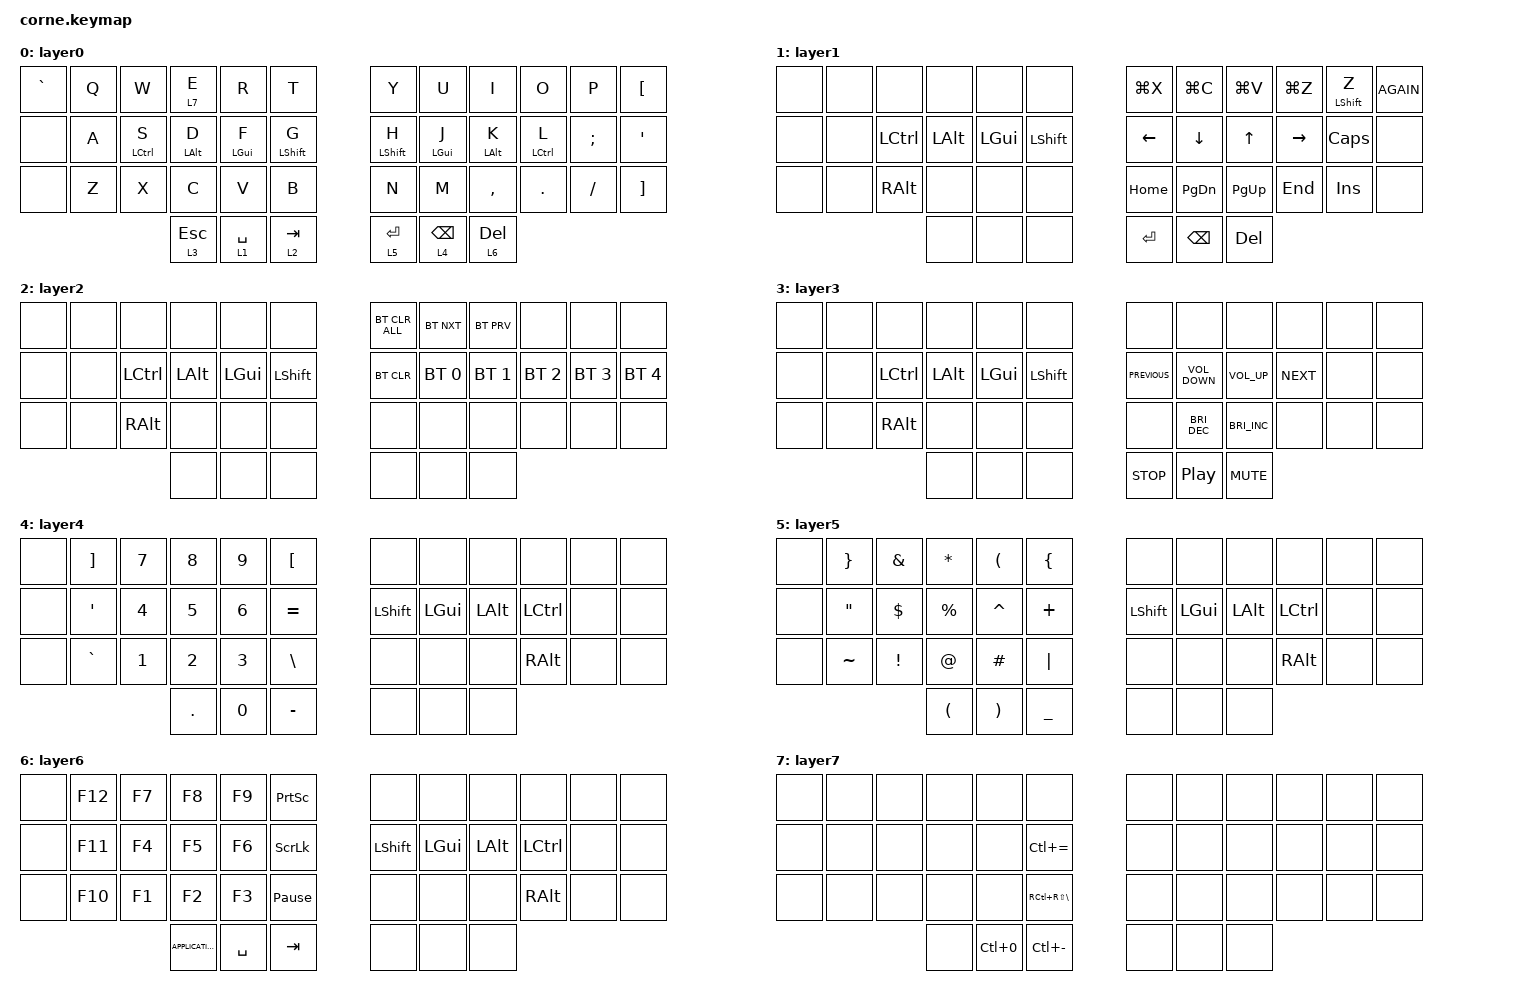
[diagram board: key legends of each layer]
/*
 * Copyright (c) 2020 The ZMK Contributors
 *
 * SPDX-License-Identifier: MIT
 */

#include <behaviors.dtsi>
#include <dt-bindings/zmk/bt.h>
#include <dt-bindings/zmk/keys.h>

/ {
    combos {
        compatible = "zmk,combos";

        combo_esc {
            timeout-ms = <50>;
            key-positions = <0 1>;
            bindings = <&kp ESC>;
        };
    };

    behaviors {
        ss_hs_modmorph: ss_hs_modmorph {
            compatible = "zmk,behavior-mod-morph";
            label = "SS_HS_MODMORPH";
            bindings = <&kp M>, <&kp RIGHT_BRACKET>;

            #binding-cells = <0>;
            mods = <(MOD_LSFT|MOD_RSFT)>;
        };

        kh_hs_tapdance: kh_hs_tapdance {
            compatible = "zmk,behavior-tap-dance";
            label = "KH_HS_TAPDANCE";
            #binding-cells = <0>;
            tapping-term-ms = <200>;
            bindings = <&kp LEFT_BRACKET>, <&kp RIGHT_BRACKET>;
        };

        hrm: hrm {
            compatible = "zmk,behavior-hold-tap";
            #binding-cells = <2>;
            flavor = "tap-preferred";
            tapping-term-ms = <200>;
            quick-tap-ms = <200>;
            require-prior-idle-ms = <125>;
            bindings = <&kp>, <&kp>;
        };
    };

    keymap {
        compatible = "zmk,keymap";

        layer0 {
            bindings = <
&kp GRAVE  &kp Q  &kp W                &lt 7 E          &kp R            &kp T                &kp Y              &kp U            &kp I            &kp O                &kp P          &kp LEFT_BRACKET
&none      &kp A  &hrm LEFT_CONTROL S  &hrm LEFT_ALT D  &hrm LEFT_GUI F  &hrm LEFT_SHIFT G    &hrm LEFT_SHIFT H  &hrm LEFT_GUI J  &hrm LEFT_ALT K  &hrm LEFT_CONTROL L  &kp SEMICOLON  &kp SINGLE_QUOTE
&none      &kp Z  &kp X                &kp C            &kp V            &kp B                &kp N              &kp M            &kp COMMA        &kp DOT              &kp SLASH      &kp RIGHT_BRACKET
                                       &lt 3 ESCAPE     &lt 1 SPACE      &lt 2 TAB            &lt 5 ENTER        &lt 4 BACKSPACE  &lt 6 DELETE
            >;
        };

        layer1 {
            bindings = <
&none  &none  &none             &none         &none         &none             &kp LG(X)  &kp LG(C)      &kp LG(V)    &kp LG(Z)  &mt LEFT_SHIFT Z  &kp K_AGAIN
&none  &none  &kp LEFT_CONTROL  &kp LEFT_ALT  &kp LEFT_GUI  &kp LEFT_SHIFT    &kp LEFT   &kp DOWN       &kp UP       &kp RIGHT  &kp CAPSLOCK      &none
&none  &none  &kp RIGHT_ALT     &none         &none         &none             &kp HOME   &kp PAGE_DOWN  &kp PAGE_UP  &kp END    &kp INSERT        &none
                                &none         &none         &none             &kp ENTER  &kp BACKSPACE  &kp DELETE
            >;
        };

        layer2 {
            bindings = <
&none  &none  &none             &none         &none         &none             &bt BT_CLR_ALL  &bt BT_NXT    &bt BT_PRV    &none         &none         &none
&none  &none  &kp LEFT_CONTROL  &kp LEFT_ALT  &kp LEFT_GUI  &kp LEFT_SHIFT    &bt BT_CLR      &bt BT_SEL 0  &bt BT_SEL 1  &bt BT_SEL 2  &bt BT_SEL 3  &bt BT_SEL 4
&none  &none  &kp RIGHT_ALT     &none         &none         &none             &none           &none         &none         &none         &none         &none
                                &none         &none         &none             &none           &none         &none
            >;
        };

        layer3 {
            bindings = <
&none  &none  &none             &none         &none         &none             &none           &none                 &none                 &none       &none  &none
&none  &none  &kp LEFT_CONTROL  &kp LEFT_ALT  &kp LEFT_GUI  &kp LEFT_SHIFT    &kp C_PREVIOUS  &kp C_VOLUME_DOWN     &kp C_VOLUME_UP       &kp C_NEXT  &none  &none
&none  &none  &kp RIGHT_ALT     &none         &none         &none             &none           &kp C_BRIGHTNESS_DEC  &kp C_BRIGHTNESS_INC  &none       &none  &none
                                &none         &none         &none             &kp C_STOP      &kp C_PLAY_PAUSE      &kp C_MUTE
            >;
        };

        layer4 {
            bindings = <
&none  &kp RIGHT_BRACKET  &kp N7  &kp N8   &kp N9  &kp LEFT_BRACKET    &none           &none         &none         &none             &none  &none
&none  &kp SINGLE_QUOTE   &kp N4  &kp N5   &kp N6  &kp EQUAL           &kp LEFT_SHIFT  &kp LEFT_GUI  &kp LEFT_ALT  &kp LEFT_CONTROL  &none  &none
&none  &kp GRAVE          &kp N1  &kp N2   &kp N3  &kp BACKSLASH       &none           &none         &none         &kp RIGHT_ALT     &none  &none
                                  &kp DOT  &kp N0  &kp MINUS           &none           &none         &none
            >;
        };

        layer5 {
            bindings = <
&none  &kp RIGHT_BRACE    &kp AMPERSAND    &kp ASTERISK          &kp LEFT_PARENTHESIS   &kp LEFT_BRACE    &none           &none         &none         &none             &none  &none
&none  &kp DOUBLE_QUOTES  &kp DOLLAR       &kp PERCENT           &kp CARET              &kp PLUS          &kp LEFT_SHIFT  &kp LEFT_GUI  &kp LEFT_ALT  &kp LEFT_CONTROL  &none  &none
&none  &kp TILDE          &kp EXCLAMATION  &kp AT_SIGN           &kp HASH               &kp PIPE          &none           &none         &none         &kp RIGHT_ALT     &none  &none
                                           &kp LEFT_PARENTHESIS  &kp RIGHT_PARENTHESIS  &kp UNDERSCORE    &none           &none         &none
            >;
        };

        layer6 {
            bindings = <
&none  &kp F12  &kp F7  &kp F8             &kp F9     &kp PRINTSCREEN    &none           &none         &none         &none             &none  &none
&none  &kp F11  &kp F4  &kp F5             &kp F6     &kp SCROLLLOCK     &kp LEFT_SHIFT  &kp LEFT_GUI  &kp LEFT_ALT  &kp LEFT_CONTROL  &none  &none
&none  &kp F10  &kp F1  &kp F2             &kp F3     &kp PAUSE_BREAK    &none           &none         &none         &kp RIGHT_ALT     &none  &none
                        &kp K_APPLICATION  &kp SPACE  &kp TAB            &none           &none         &none
            >;
        };

        layer7 {
            bindings = <
&none  &none  &none  &none  &none       &none                    &none  &none  &none  &none  &none  &none
&none  &none  &none  &none  &none       &kp LC(EQUAL)            &none  &none  &none  &none  &none  &none
&none  &none  &none  &none  &none       &kp RC(RS(BACKSLASH))    &none  &none  &none  &none  &none  &none
                     &none  &kp LC(N0)  &kp LC(MINUS)            &none  &none  &none
            >;
        };
    };
};
